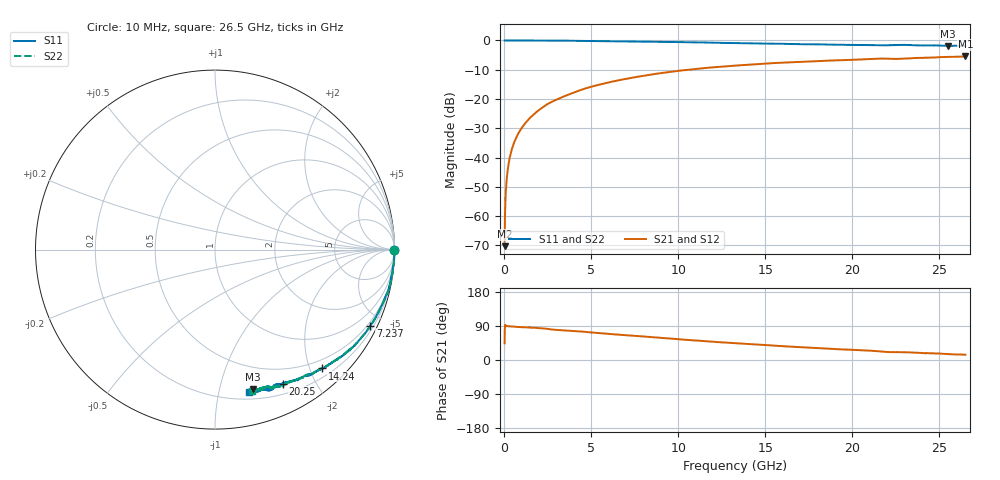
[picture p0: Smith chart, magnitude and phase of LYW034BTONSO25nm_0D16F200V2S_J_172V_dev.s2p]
!Keysight Technologies,N5222B,MY61253708,A.15.00.15
!Date: Wednesday, June 19, 2024 10:24:44
!Correction: S11(C  2-Port  )
!S21(C  2-Port  )
!S12(C  2-Port  )
!S22(C  2-Port  )
!S2P File: Measurements: S11, S21, S12, S22:
# Hz S  RI  R 50
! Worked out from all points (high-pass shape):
!   2651 points, 10 MHz to 26.5 GHz, reference 50 ohm
!   highest |S21| = -5.45 dB at 26.5 GHz (marker M1); lowest = -70.3 dB at 10 MHz (marker M2)
!   |S21| within 3 dB of the highest: 13.58432 GHz to 13.60009 GHz (15.77 MHz wide, 0.116 % of centre); 13.63 GHz to end of sweep
!   lowest |S11| = -1.9 dB at 25.5 GHz (marker M3), VSWR 9.26, Z = 14.4 - j63.4 ohm
!   |S11| at or under -10 dB: nowhere
!   |S22| runs from -1.8 to 0.0 dB; largest |S21 - S12| = 0.0064
!   S11 on the Smith chart (normalised r, x): 10 MHz: open; 7.237 GHz: 0.35, -4.28; 14.24 GHz: 0.34, -2.21; 20.25 GHz: 0.31, -1.58; 26.5 GHz: 0.26, -1.24
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1e7  0.9986 -0.00317  0.000221 0.000212  4.58e-05 0.000328  0.9985 -0.0014
6.997736e7  1 -0.00503  -2.2e-05 0.00228  1.03e-05 0.0023  0.9998 -0.00466
1.599434e8  0.9999 -0.0112  6.03e-05 0.00522  5.87e-05 0.00521  0.9997 -0.0103
1.999283e8  1 -0.0134  9.07e-05 0.00651  7.2e-05 0.00651  0.9998 -0.0125
2.599057e8  0.9997 -0.0174  0.000122 0.00845  0.000133 0.00847  0.9997 -0.0165
3.598679e8  0.9995 -0.0243  0.00029 0.0117  0.000273 0.0117  0.9997 -0.0233
4.898189e8  0.9988 -0.0326  0.00052 0.0159  0.000496 0.0159  0.9985 -0.0312
6.497585e8  0.9985 -0.0425  0.000875 0.021  0.000864 0.0211  0.9986 -0.0408
8.49683e8  0.9981 -0.0556  0.00144 0.0274  0.00147 0.0275  0.9979 -0.0548
1.469449e9  0.9911 -0.0974  0.00359 0.0477  0.0036 0.0477  0.9937 -0.0927
2.329125e9  0.9825 -0.1494  0.00951 0.0761  0.00959 0.0763  0.9838 -0.1489
3.208792e9  0.9721 -0.2047  0.0203 0.1021  0.0203 0.1023  0.9729 -0.2025
4.428332e9  0.9445 -0.2769  0.0369 0.139  0.0371 0.1394  0.9468 -0.2727
7.237272e9  0.8659 -0.4253  0.0978 0.2057  0.0987 0.2058  0.8684 -0.422
8.846664e9  0.8088 -0.4978  0.1406 0.2339  0.1414 0.2339  0.812 -0.4939
1.3255e10  0.6361 -0.6396  0.2656 0.2599  0.2671 0.2594  0.6425 -0.6359
1.424463e10  0.5986 -0.662  0.2915 0.2572  0.2926 0.2567  0.6059 -0.6572
1.767333e10  0.4658 -0.7215  0.3713 0.2347  0.374 0.2329  0.4797 -0.717
2.025236e10  0.3773 -0.7487  0.4223 0.2083  0.4248 0.206  0.3967 -0.7457
2.209166e10  0.3307 -0.7571  0.4548 0.1747  0.4561 0.172  0.3288 -0.7622
2.550038e10  0.211 -0.7769  0.5049 0.1392  0.5059 0.1389  0.2354 -0.779
2.65e10  0.1915 -0.7914  0.5185 0.1283  0.5175 0.1245  0.2088 -0.7893
